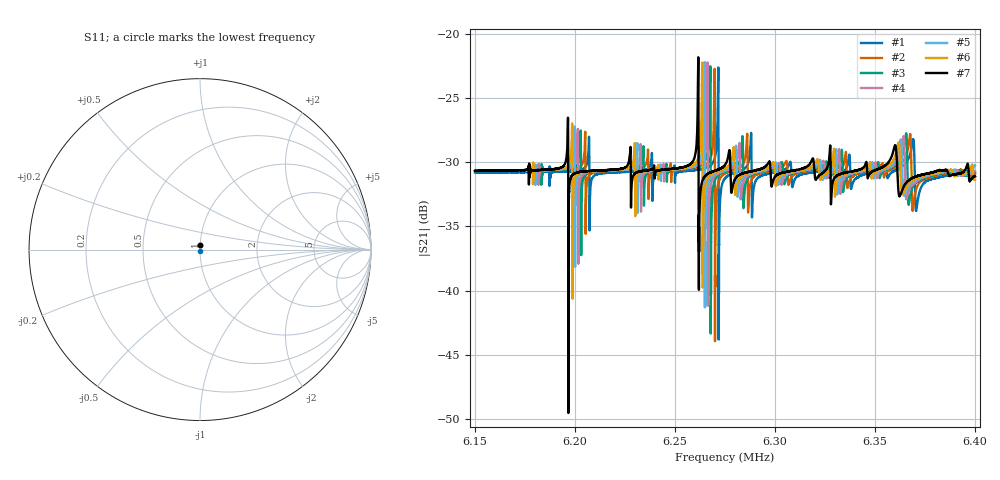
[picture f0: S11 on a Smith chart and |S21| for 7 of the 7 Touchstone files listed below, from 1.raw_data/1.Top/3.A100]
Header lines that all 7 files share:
!CETC41,AV3656A,ZGL00048,1.3.2
!Calibration ON (Full Solt 2-Port(Omit Isolation))
!Measurements: S11 S21 S12 S22
# Hz  S  dB  R 50.000
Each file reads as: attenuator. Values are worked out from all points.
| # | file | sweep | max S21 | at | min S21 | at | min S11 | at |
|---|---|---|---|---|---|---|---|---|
| 1 | A100_20C.s2p | 6.15 MHz to 6.4 MHz | -22.63 dB | 6.2716 MHz | -43.8 dB | 6.2718 MHz | -44.8 dB | 6.2909 MHz |
| 2 | A100_25C.s2p | 6.2 MHz to 6.4 MHz | -22.74 dB | 6.2698 MHz | -43.9 dB | 6.27 MHz | -31.1 dB | 6.3972 MHz |
| 3 | A100_35C.s2p | 6.15 MHz to 6.4 MHz | -22.54 dB | 6.2677 MHz | -43.3 dB | 6.2679 MHz | -31.0 dB | 6.3991 MHz |
| 4 | A100_40C.s2p | 6.15 MHz to 6.4 MHz | -22.24 dB | 6.2663 MHz | -41.2 dB | 6.2666 MHz | -31.0 dB | 6.398 MHz |
| 5 | A100_50C.s2p | 6.15 MHz to 6.4 MHz | -22.21 dB | 6.2648 MHz | -41.3 dB | 6.265 MHz | -31.0 dB | 6.3978 MHz |
| 6 | A100_55C.s2p | 6.15 MHz to 6.4 MHz | -22.27 dB | 6.2636 MHz | -40.6 dB | 6.1988 MHz | -31.1 dB | 6.3976 MHz |
| 7 | A100_65C.s2p | 6.15 MHz to 6.4 MHz | -21.84 dB | 6.2616 MHz | -49.5 dB | 6.1967 MHz | -31.0 dB | 6.3986 MHz |
